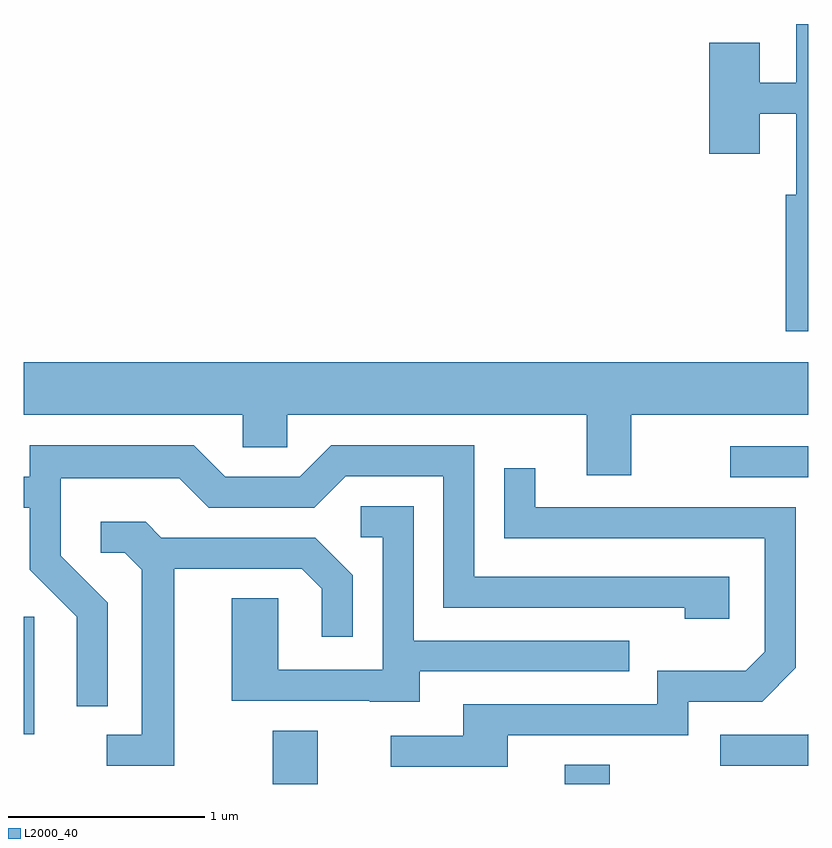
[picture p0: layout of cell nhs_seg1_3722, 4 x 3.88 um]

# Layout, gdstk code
import gdstk
lib = gdstk.Library(unit=1e-6, precision=1e-09)
def R(c, l, rs):  # rectangles x0, y0, x1, y1
    for r in rs: c.add(gdstk.rectangle(r[:2], r[2:], *l))
def P(c, l, *ps):  # polygons
    for p in ps: c.add(gdstk.Polygon(p, *l))
L2000_40 = (2000, 40)

nhs_seg1_3722 = lib.new_cell('nhs_seg1_3722')
R(nhs_seg1_3722, L2000_40, [(298.881,877.712,299.109,877.984), (300.371,877.712,300.599,877.809), (297.611,877.966,297.664,878.564), (301.213,879.276,301.611,879.434)])
P(nhs_seg1_3722, L2000_40, [(301.611,881.589),(301.551,881.589),(301.551,881.289),(301.364,881.289),(301.364,881.494),(301.106,881.494),(301.106,880.926),(301.364,880.926),(301.364,881.131),(301.551,881.131),(301.551,880.719),(301.496,880.719),(301.496,880.021),(301.611,880.021)],
  [(300.709,879.596),(301.611,879.596),(301.611,879.864),(297.611,879.864),(297.611,879.596),(298.726,879.596),(298.726,879.431),(298.954,879.431),(298.954,879.596),(300.481,879.596),(300.481,879.286),(300.709,879.286)],
  [(298.039,878.637),(297.799,878.877),(297.799,879.271),(298.404,879.271),(298.554,879.121),(299.092,879.121),(299.252,879.281),(299.751,879.281),(299.751,878.611),(300.981,878.611),(300.981,878.556),(301.209,878.556),(301.209,878.769),(299.909,878.769),(299.909,879.439),(299.179,879.439),(299.019,879.279),(298.637,879.279),(298.477,879.439),(297.641,879.439),(297.641,879.279),(297.611,879.279),(297.611,879.121),(297.641,879.121),(297.641,878.804),(297.881,878.564),(297.881,878.108),(298.039,878.108)],
  [(300.079,877.961),(300.999,877.961),(300.999,878.131),(301.377,878.131),(301.549,878.304),(301.549,879.124),(300.219,879.124),(300.219,879.323),(300.061,879.323),(300.061,878.966),(301.391,878.966),(301.391,878.387),(301.294,878.289),(300.841,878.289),(300.841,878.119),(299.851,878.119),(299.851,877.959),(299.483,877.959),(299.483,877.801),(300.079,877.801)],
  [(299.629,878.286),(300.698,878.286),(300.698,878.444),(299.599,878.444),(299.599,879.129),(299.328,879.129),(299.328,878.971),(299.441,878.971),(299.441,878.294),(298.909,878.294),(298.909,878.659),(298.671,878.659),(298.671,878.136),(299.375,878.136),(299.375,878.131),(299.629,878.131)],
  [(298.379,878.811),(299.029,878.811),(299.131,878.709),(299.131,878.463),(299.289,878.463),(299.289,878.777),(299.097,878.969),(298.312,878.969),(298.232,879.049),(298.003,879.049),(298.003,878.891),(298.124,878.891),(298.211,878.804),(298.211,877.964),(298.033,877.964),(298.033,877.806),(298.379,877.806)],
  [(301.611,877.966),(301.609,877.964),(301.163,877.964),(301.163,877.806),(301.611,877.806)])

lib.write_gds('nhs_seg1_3722.gds')
